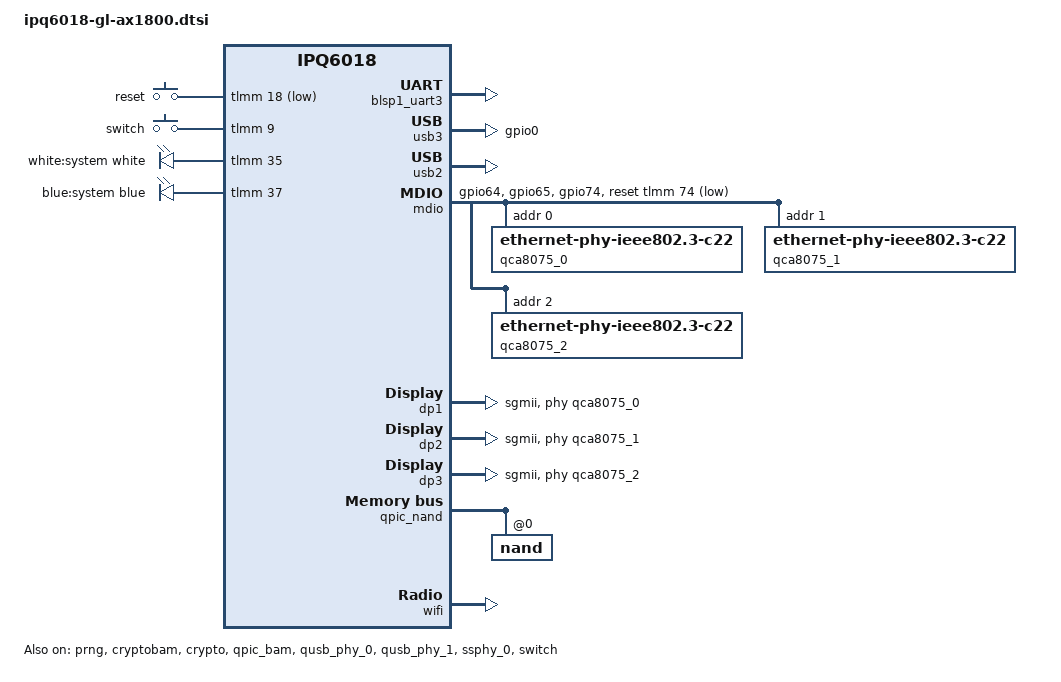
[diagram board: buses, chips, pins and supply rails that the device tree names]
/*
 * Copyright (c) 2019, The Linux Foundation. All rights reserved.
 *
 * Permission to use, copy, modify, and/or distribute this software for any
 * purpose with or without fee is hereby granted, provided that the above
 * copyright notice and this permission notice appear in all copies.
 *
 * THE SOFTWARE IS PROVIDED "AS IS" AND THE AUTHOR DISCLAIMS ALL WARRANTIES
 * WITH REGARD TO THIS SOFTWARE INCLUDING ALL IMPLIED WARRANTIES OF
 * MERCHANTABILITY AND FITNESS. IN NO EVENT SHALL THE AUTHOR BE LIABLE FOR
 * ANY SPECIAL, DIRECT, INDIRECT, OR CONSEQUENTIAL DAMAGES OR ANY DAMAGES
 * WHATSOEVER RESULTING FROM LOSS OF USE, DATA OR PROFITS, WHETHER IN AN
 * ACTION OF CONTRACT, NEGLIGENCE OR OTHER TORTIOUS ACTION, ARISING OUT OF
 * OR IN CONNECTION WITH THE USE OR PERFORMANCE OF THIS SOFTWARE.
 */

#include "ipq6018.dtsi"
#include "ipq6018-upstreamable.dtsi"
#include "ipq6018-ess.dtsi"
#include "ipq6018-512m.dtsi"


#include <dt-bindings/input/input.h>
#include <dt-bindings/gpio/gpio.h>
#include <dt-bindings/leds/common.h>

/ {
	aliases {
		ethernet0 = &dp1;
		ethernet1 = &dp2;
		ethernet2 = &dp3;
		label-mac-device = &dp1;
        serial0 = &blsp1_uart3;
		led-boot = &led_system_white;
		led-failsafe = &led_system_white;
		led-running = &led_system_white;
		led-upgrade = &led_system_white;
	};

	/delete-node/ rpm-glink;

	chosen {
		stdout-path = "serial0:115200n8";
		bootargs-append = " root=/dev/ubiblock0_1";
	};


    keys {
        compatible = "gpio-keys";

        reset {
            label = "reset";
            gpios = <&tlmm 18 GPIO_ACTIVE_LOW>;
            linux,code = <KEY_RESTART>;
        };

        switch {
            label = "switch";
            gpios = <&tlmm 9 GPIO_ACTIVE_HIGH>;
			linux,code = <KEY_WPS_BUTTON>;
		};
    };

    leds {
        compatible = "gpio-leds";

        led_system_white: system-white {
            label = "white:system";
            gpios = <&tlmm 35 GPIO_ACTIVE_HIGH>;
            color = <LED_COLOR_ID_WHITE>;
        };

        led_system_blue: system-blue {
            label = "blue:system";
            gpios = <&tlmm 37 GPIO_ACTIVE_HIGH>;
            color = <LED_COLOR_ID_BLUE>;
        };
    };
};

&tlmm {
	mdio_pins: mdio-pins {
		mdc {
			pins = "gpio64";
			function = "mdc";
			drive-strength = <8>;
			bias-pull-up;
		};

		mdio {
			pins = "gpio65";
			function = "mdio";
			drive-strength = <8>;
			bias-pull-up;
		};

		mux_2 {
			pins = "gpio74";
			function = "gpio";
			bias-pull-up;
		};
	};

	usb_power_pins: usb_power_pins {
		mux {
			pins = "gpio0";
			function = "gpio";
			bias-pull-up;
			output-high;
		};
	};
};

&blsp1_uart3 {
	pinctrl-0 = <&serial_3_pins>;
	pinctrl-names = "default";
	status = "okay";
};

&prng {
	status = "okay";
};

&cryptobam {
	status = "okay";
};

&crypto {
	status = "okay";
};

&qpic_bam {
	status = "okay";
};

&qusb_phy_0 {
	status = "okay";
};

&qusb_phy_1 {
	status = "okay";
};


&ssphy_0 {
	status = "okay";
};

&usb3 {
	pinctrl-0 = <&usb_power_pins>;
	pinctrl-names = "default";
	status = "okay";
};

&usb2 {
	status = "okay";
};

&edma {
	status = "okay";
};

&mdio {
	status = "okay";

	pinctrl-0 = <&mdio_pins>;
	pinctrl-names = "default";
	reset-gpios = <&tlmm 74 GPIO_ACTIVE_LOW>;

	qca8075_0: ethernet-phy@0 {
		compatible = "ethernet-phy-ieee802.3-c22";
		reg = <0>;
	};

	qca8075_1: ethernet-phy@1 {
		compatible = "ethernet-phy-ieee802.3-c22";
		reg = <1>;
	};

	qca8075_2: ethernet-phy@2 {
		compatible = "ethernet-phy-ieee802.3-c22";
		reg = <2>;
	};

};

&switch {
	status = "okay";

	switch_cpu_bmp = <0x1>;  /* cpu port bitmap */
	switch_lan_bmp = <0x0c>; /* lan port bitmap */
	switch_wan_bmp = <0x02>; /* wan port bitmap */
	switch_mac_mode = <0x0>; /* mac mode for uniphy instance0*/
	switch_mac_mode1 = <0xff>; /* mac mode for uniphy instance1*/
	switch_mac_mode2 = <0xff>; /* mac mode for uniphy instance2*/
	qcom,port_phyinfo {
		port@0 {
			port_id = <1>;
			phy_address = <0>;
		};
		port@1 {
			port_id = <2>;
			phy_address = <1>;
		};
		port@2 {
			port_id = <3>;
			phy_address = <2>;
		};
	};
};

&soc {
    dp1: dp@1 {
		device_type = "network";
		compatible = "qcom,nss-dp";
		reg = <0x0 0x3a001000 0x0 0x200>;
		qcom,mactype = <0>;
		local-mac-address = [000000000000];
		qcom,id = <1>;
		phy-handle = <&qca8075_0>;
		phy-mode = "sgmii";
	};

    dp2: dp@2 {
		device_type = "network";
		compatible = "qcom,nss-dp";
		reg = <0x0 0x3a001200 0x0 0x200>;
		qcom,mactype = <0>;
		local-mac-address = [000000000000];
		qcom,id = <2>;
		phy-handle = <&qca8075_1>;
		phy-mode = "sgmii";
	};

    dp3: dp@3 {
		device_type = "network";
		compatible = "qcom,nss-dp";
		reg = <0x0 0x3a001400 0x0 0x200>;
		qcom,mactype = <0>;
		local-mac-address = [000000000000];
		qcom,id = <3>;
		phy-handle = <&qca8075_2>;
		phy-mode = "sgmii";
	};

};

&qpic_bam {
	status = "okay";
};

&qpic_nand {
	status = "okay";

	nand@0 {
		reg = <0>;

		nand-ecc-strength = <4>;
		nand-ecc-step-size = <512>;
		nand-bus-width = <8>;

        partitions {
			compatible = "qcom,smem-part";
		};
	};
};


&wifi {
	status = "okay";

	qcom,ath11k-fw-memory-mode = <1>;
 };


&CPU0 {
	/delete-property/ cpu-supply;
};

&CPU1 {
	/delete-property/ cpu-supply;
};

&CPU2 {
	/delete-property/ cpu-supply;
};

&CPU3 {
	/delete-property/ cpu-supply;
};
